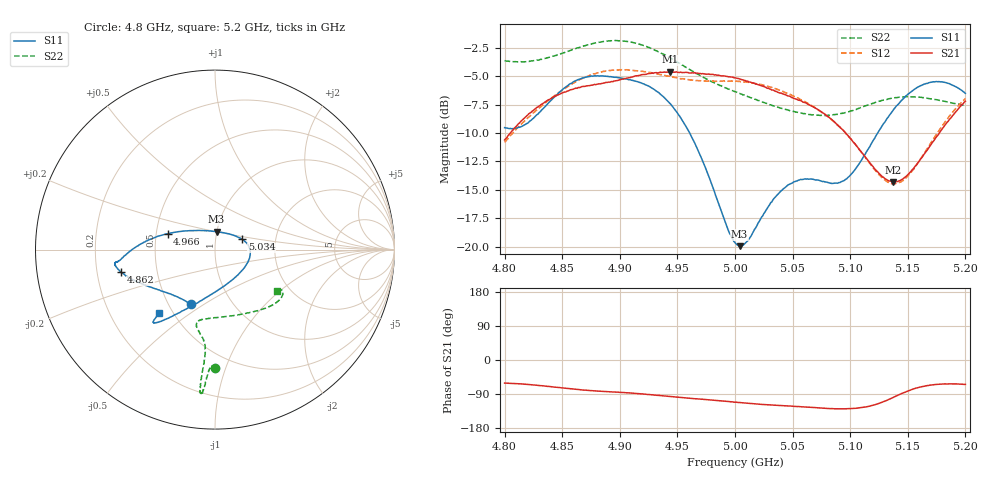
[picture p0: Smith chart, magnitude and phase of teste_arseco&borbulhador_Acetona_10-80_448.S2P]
! Network Analyzer HP8722D
! Hewlett-Packard
! Data name: Linha & Wilkinson
! Saver's name: Rodrigo Anjos
! Comments: Teste da utilização de aquisição
! continua pelo VNA HP8722D
! Time and date: 17/4/2025 18:05
!  Frequency  S11  S21  S12  S22
# HZ  S  MA R 50
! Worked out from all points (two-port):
!   401 points, 4.8 GHz to 5.2 GHz, reference 50 ohm
!   highest |S21| = -4.62 dB at 4.944 GHz (marker M1); lowest = -14.3 dB at 5.137 GHz (marker M2)
!   |S21| within 3 dB of the highest: 4.83 GHz to 5.066 GHz (235.8 MHz wide, 4.77 % of centre); 5.196046 GHz to end of sweep
!   lowest |S11| = -20.0 dB at 5.004 GHz (marker M3), VSWR 1.22, Z = 49.9 + j10.1 ohm
!   |S11| at or under -10 dB: 4.961 GHz to 5.124 GHz (163.2 MHz wide, 3.24 % of centre)
!   |S22| runs from -8.5 to -1.9 dB; largest |S21 - S12| = 0.88
!   S11 on the Smith chart (normalised r, x): 4.8 GHz: 0.64, -0.44; 4.862 GHz: 0.30, -0.11; 4.966 GHz: 0.57, +0.11; 5.034 GHz: 1.35, +0.16; 5.2 GHz: 0.42, -0.39
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4.8e9  0.3335 -113.7  0.2943 -60.9  0.2877 -175.0  0.6581 -90.2
4.819e9  0.3475 -133.7  0.3743 -64.3  0.3633 -173.9  0.652 -91.8
4.862e9  0.538 -166.4  0.4978 -77.4  0.5324 -177.1  0.7446 -94.1
4.867e9  0.5497 -168.3  0.5058 -78.9  0.5476 -177.9  0.7581 -94.2
4.899e9  0.5526 -172.8  0.5394 -85.3  0.5981 175.4  0.8041 -95.5
4.934e9  0.4749 -178.9  0.5827 -93.6  0.5726 171.8  0.7177 -96.1
4.944e9  0.4239 176.5  0.5873 -96.5  0.5573 171.7  0.6743 -95.9
4.966e9  0.2785 161.6  0.5794 -102.2  0.5373 173.7  0.578 -95.3
4.993e9  0.1222 119.9  0.5609 -109.2  0.5357 175.9  0.4964 -98.0
5e9  0.1039 98.7  0.5526 -111.4  0.5346 176.1  0.4802 -99.7
5.004e9  0.1003 84.8  0.5463 -112.2  0.5331 176.0  0.472 -100.4
5.012e9  0.1076 59.2  0.5302 -114.5  0.527 175.7  0.455 -102.2
5.034e9  0.163 20.4  0.4857 -119.2  0.4975 174.6  0.4153 -103.9
5.049e9  0.1896 5.2  0.453 -121.8  0.4642 174.1  0.395 -100.0
5.067e9  0.1978 -14.0  0.4143 -125.2  0.4156 173.3  0.3791 -90.7
5.085e9  0.1895 -42.4  0.3588 -128.5  0.357 173.6  0.3801 -77.0
5.097e9  0.1987 -67.1  0.3118 -128.8  0.3117 174.6  0.3903 -67.1
5.134e9  0.3778 -117.0  0.1942 -103.4  0.1909 -156.3  0.4474 -43.0
5.137e9  0.3959 -118.8  0.1922 -99.3  0.1894 -151.6  0.4504 -41.7
5.15e9  0.4675 -124.7  0.2068 -81.8  0.204 -131.5  0.4561 -36.9
5.17e9  0.5285 -129.4  0.2801 -66.1  0.2856 -112.4  0.447 -32.1
5.2e9  0.4722 -131.1  0.436 -64.5  0.448 -106.7  0.4166 -33.6
